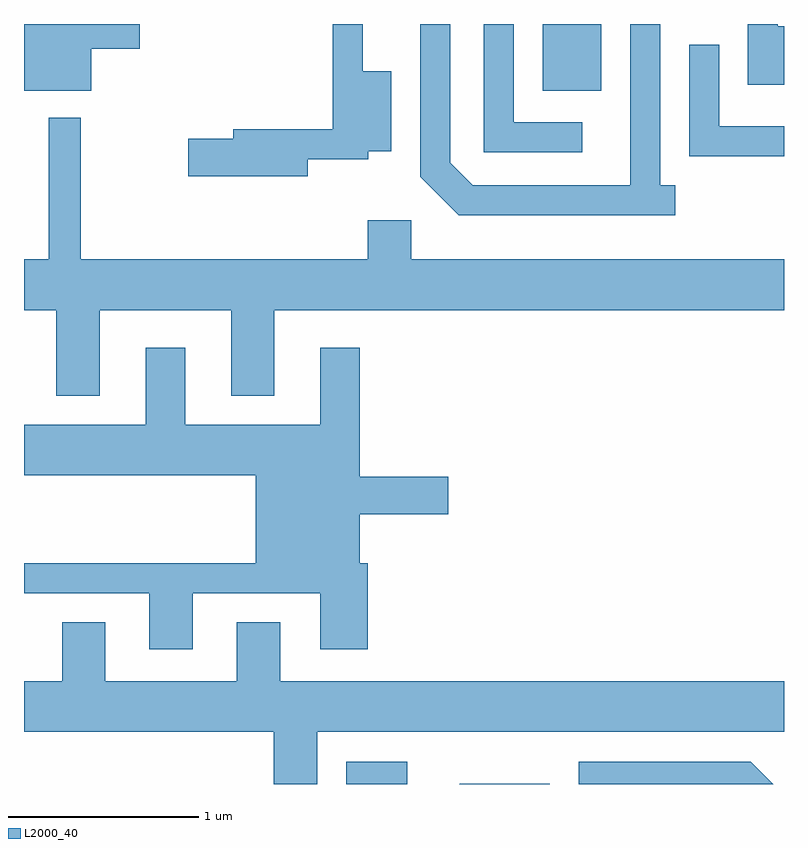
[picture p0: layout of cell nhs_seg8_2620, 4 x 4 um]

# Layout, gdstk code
import gdstk
lib = gdstk.Library(unit=1e-6, precision=1e-09)
def R(c, l, rs):  # rectangles x0, y0, x1, y1
    for r in rs: c.add(gdstk.rectangle(r[:2], r[2:], *l))
def P(c, l, *ps):  # polygons
    for p in ps: c.add(gdstk.Polygon(p, *l))
L2000_40 = (2000, 40)

nhs_seg8_2620 = lib.new_cell('nhs_seg8_2620')
R(nhs_seg8_2620, L2000_40, [(265.306,1858.342,265.628,1858.459), (266.341,1861.991,266.649,1862.342)])
P(nhs_seg8_2620, L2000_40, [(265.104,1861.631),(265.424,1861.631),(265.424,1861.671),(265.544,1861.671),(265.544,1862.094),(265.394,1862.094),(265.394,1862.342),(265.236,1862.342),(265.236,1861.789),(264.711,1861.789),(264.711,1861.739),(264.476,1861.739),(264.476,1861.541),(265.104,1861.541)],
  [(263.964,1862.211),(264.219,1862.211),(264.219,1862.342),(263.611,1862.342),(263.611,1861.991),(263.964,1861.991)],
  [(267.038,1861.494),(266.959,1861.494),(266.959,1862.342),(266.801,1862.342),(266.801,1861.494),(265.972,1861.494),(265.854,1861.612),(265.854,1862.342),(265.696,1862.342),(265.696,1861.539),(265.899,1861.336),(267.038,1861.336)],
  [(267.611,1862.329),(267.579,1862.329),(267.579,1862.342),(267.421,1862.342),(267.421,1862.021),(267.611,1862.021)],
  [(266.548,1861.824),(266.189,1861.824),(266.189,1862.342),(266.031,1862.342),(266.031,1861.666),(266.548,1861.666)],
  [(267.611,1861.804),(267.269,1861.804),(267.269,1862.233),(267.111,1862.233),(267.111,1861.646),(267.611,1861.646)],
  [(264.009,1860.836),(264.701,1860.836),(264.701,1860.386),(264.929,1860.386),(264.929,1860.836),(267.611,1860.836),(267.611,1861.104),(265.649,1861.104),(265.649,1861.309),(265.421,1861.309),(265.421,1861.104),(263.909,1861.104),(263.909,1861.848),(263.741,1861.848),(263.741,1861.104),(263.611,1861.104),(263.611,1860.836),(263.781,1860.836),(263.781,1860.386),(264.009,1860.386)],
  [(264.499,1859.346),(265.171,1859.346),(265.171,1859.051),(265.419,1859.051),(265.419,1859.504),(265.379,1859.504),(265.379,1859.761),(265.844,1859.761),(265.844,1859.959),(265.379,1859.959),(265.379,1860.639),(265.171,1860.639),(265.171,1860.234),(264.459,1860.234),(264.459,1860.639),(264.251,1860.639),(264.251,1860.234),(263.611,1860.234),(263.611,1859.966),(264.831,1859.966),(264.831,1859.504),(263.611,1859.504),(263.611,1859.346),(264.271,1859.346),(264.271,1859.051),(264.499,1859.051)],
  [(264.926,1858.342),(265.154,1858.342),(265.154,1858.616),(267.611,1858.616),(267.611,1858.884),(264.959,1858.884),(264.959,1859.194),(264.731,1859.194),(264.731,1858.884),(264.039,1858.884),(264.039,1859.194),(263.811,1859.194),(263.811,1858.884),(263.611,1858.884),(263.611,1858.616),(264.926,1858.616)],
  [(267.437,1858.459),(266.531,1858.459),(266.531,1858.342),(267.554,1858.342)],
  [(266.379,1858.344),(265.904,1858.344),(265.902,1858.342),(266.379,1858.342)])

lib.write_gds('nhs_seg8_2620.gds')
